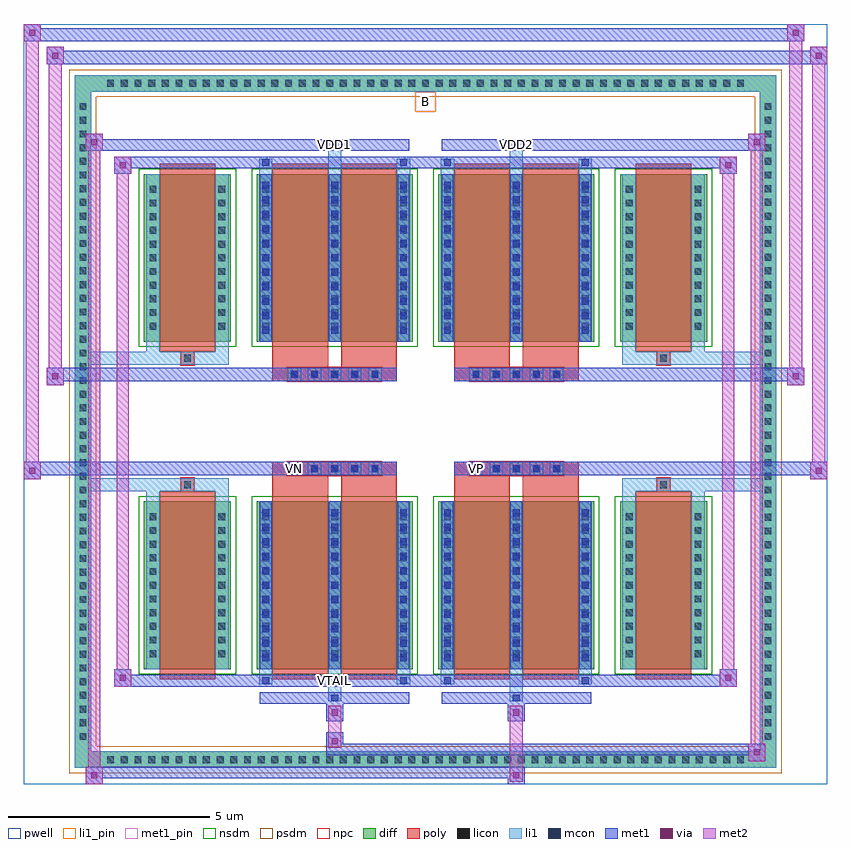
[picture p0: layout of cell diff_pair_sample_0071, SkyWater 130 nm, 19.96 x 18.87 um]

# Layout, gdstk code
import gdstk
lib = gdstk.Library(unit=1e-6, precision=5e-09)
def R(c, l, rs):  # rectangles x0, y0, x1, y1
    for r in rs: c.add(gdstk.rectangle(r[:2], r[2:], *l))
def A(c, l, x, y, w, h, nx, ny, dx, dy):  # array of equal rectangles
    R(c, l, [(x+i*dx, y+j*dy, x+i*dx+w, y+j*dy+h) for i in range(nx) for j in range(ny)])
def P(c, l, *ps):  # polygons
    for p in ps: c.add(gdstk.Polygon(p, *l))
pwell = (64, 44)
diff = (65, 20)
poly = (66, 20)
licon = (66, 44)
li1_pin = (67, 16)
li1 = (67, 20)
mcon = (67, 44)
met1_pin = (68, 16)
met1 = (68, 20)
via = (68, 44)
met2 = (69, 20)
nsdm = (93, 44)
psdm = (94, 20)
npc = (95, 20)

diff_pair_sample_0071 = lib.new_cell('diff_pair_sample_0071')
R(diff_pair_sample_0071, pwell, [(-9.98,-9,9.98,9.87), (-7.3,-7.19,-0.01,-0.805), (0.01,-7.19,7.3,-0.805), (-7.3,0.805,-0.01,7.19), (0.01,0.805,7.3,7.19)])
A(diff_pair_sample_0071, diff, -8.025, -8.6, 0.41, 0.41, 47, 2, 0.34, 16.79)
A(diff_pair_sample_0071, diff, -8.71, -8.025, 0.41, 0.41, 1, 47, 0, 0.34)
A(diff_pair_sample_0071, diff, 8.3, -8.025, 0.41, 0.41, 1, 47, 0, 0.34)
R(diff_pair_sample_0071, diff, [(-8.025,-8.6,8.025,-8.19), (-8.71,-8.025,-8.3,8.025), (8.3,-8.025,8.71,8.025), (-6.99,-6.145,-4.83,-1.985), (-4.19,-6.145,-0.32,-1.985), (0.32,-6.145,4.19,-1.985), (4.83,-6.145,6.99,-1.985), (-6.99,1.985,-4.83,6.145), (-4.19,1.985,-0.32,6.145), (0.32,1.985,4.19,6.145), (4.83,1.985,6.99,6.145), (-8.025,8.19,8.025,8.6)])
P(diff_pair_sample_0071, diff, [(8.71,8.6),(-8.71,8.6),(-8.71,-8.19),(-8.3,-8.19),(-8.3,8.19),(8.3,8.19),(8.3,-8.19),(-8.3,-8.19),(-8.71,-8.19),(-8.71,-8.6),(8.71,-8.6)])
A(diff_pair_sample_0071, poly, -3.42, -1.335, 0.33, 0.33, 5, 2, 0.5, 2.34)
A(diff_pair_sample_0071, poly, 1.09, -1.335, 0.33, 0.33, 5, 2, 0.5, 2.34)
R(diff_pair_sample_0071, poly, [(-6.6,-6.395,-5.22,-1.735), (-3.8,-6.395,-2.42,-1.735), (-2.09,-6.395,-0.71,-1.735), (0.71,-6.395,2.09,-1.735), (2.42,-6.395,3.8,-1.735), (5.22,-6.395,6.6,-1.735), (-6.075,-1.735,-5.745,-1.405), (-6.075,-1.735,-5.745,-1.405), (-3.8,-1.735,-2.42,-1.335), (-2.09,-1.735,-0.71,-1.335), (0.71,-1.735,2.09,-1.335), (2.42,-1.735,3.8,-1.335), (5.745,-1.735,6.075,-1.405), (5.745,-1.735,6.075,-1.405), (-3.8,-1.335,-0.71,-1.005), (0.71,-1.335,3.8,-1.005), (-3.8,1.005,-0.71,1.335), (0.71,1.005,3.8,1.335), (-3.8,1.335,-2.42,1.735), (-2.09,1.335,-0.71,1.735), (0.71,1.335,2.09,1.735), (2.42,1.335,3.8,1.735), (-6.075,1.405,-5.745,1.735), (-6.075,1.405,-5.745,1.735), (5.745,1.405,6.075,1.735), (5.745,1.405,6.075,1.735), (-6.6,1.735,-5.22,6.395), (-3.8,1.735,-2.42,6.395), (-2.09,1.735,-0.71,6.395), (0.71,1.735,2.09,6.395), (2.42,1.735,3.8,6.395), (5.22,1.735,6.6,6.395)])
A(diff_pair_sample_0071, licon, -7.905, -8.48, 0.17, 0.17, 47, 2, 0.34, 16.79)
A(diff_pair_sample_0071, licon, -8.59, -7.905, 0.17, 0.17, 1, 47, 0, 0.34)
A(diff_pair_sample_0071, licon, 8.42, -7.905, 0.17, 0.17, 1, 47, 0, 0.34)
A(diff_pair_sample_0071, licon, -6.85, -5.85, 0.17, 0.17, 1, 11, 0, 0.34)
A(diff_pair_sample_0071, licon, -5.14, -5.85, 0.17, 0.17, 1, 11, 0, 0.34)
A(diff_pair_sample_0071, licon, -4.05, -5.85, 0.17, 0.17, 3, 11, 1.71, 0.34)
A(diff_pair_sample_0071, licon, 0.46, -5.85, 0.17, 0.17, 3, 11, 1.71, 0.34)
A(diff_pair_sample_0071, licon, 4.97, -5.85, 0.17, 0.17, 1, 11, 0, 0.34)
A(diff_pair_sample_0071, licon, 6.68, -5.85, 0.17, 0.17, 1, 11, 0, 0.34)
A(diff_pair_sample_0071, licon, -3.34, -1.255, 0.17, 0.17, 5, 2, 0.5, 2.34)
A(diff_pair_sample_0071, licon, 1.17, -1.255, 0.17, 0.17, 5, 2, 0.5, 2.34)
A(diff_pair_sample_0071, licon, -6.85, 2.28, 0.17, 0.17, 1, 11, 0, 0.34)
A(diff_pair_sample_0071, licon, -5.14, 2.28, 0.17, 0.17, 1, 11, 0, 0.34)
A(diff_pair_sample_0071, licon, -4.05, 2.28, 0.17, 0.17, 3, 11, 1.71, 0.34)
A(diff_pair_sample_0071, licon, 0.46, 2.28, 0.17, 0.17, 3, 11, 1.71, 0.34)
A(diff_pair_sample_0071, licon, 4.97, 2.28, 0.17, 0.17, 1, 11, 0, 0.34)
A(diff_pair_sample_0071, licon, 6.68, 2.28, 0.17, 0.17, 1, 11, 0, 0.34)
R(diff_pair_sample_0071, licon, [(-5.995,-1.655,-5.825,-1.485), (5.825,-1.655,5.995,-1.485), (-5.995,1.485,-5.825,1.655), (5.825,1.485,5.995,1.655)])
R(diff_pair_sample_0071, li1_pin, [(-0.25,7.69,0.25,8.19)])
A(diff_pair_sample_0071, li1, -7.985, -8.56, 0.33, 0.33, 47, 2, 0.34, 16.79)
A(diff_pair_sample_0071, li1, -8.67, -7.985, 0.33, 0.33, 1, 47, 0, 0.34)
A(diff_pair_sample_0071, li1, 8.34, -7.985, 0.33, 0.33, 1, 47, 0, 0.34)
A(diff_pair_sample_0071, li1, -4.13, -6.145, 0.33, 4.16, 3, 2, 1.71, 8.13)
A(diff_pair_sample_0071, li1, 0.38, -6.145, 0.33, 4.16, 3, 2, 1.71, 8.13)
A(diff_pair_sample_0071, li1, -4.05, -5.95, 0.17, 0.17, 3, 11, 1.71, 0.36)
A(diff_pair_sample_0071, li1, -4.05, -5.95, 0.17, 3.77, 3, 2, 1.71, 8.13)
A(diff_pair_sample_0071, li1, 0.46, -5.95, 0.17, 0.17, 3, 11, 1.71, 0.36)
A(diff_pair_sample_0071, li1, 0.46, -5.95, 0.17, 3.77, 3, 2, 1.71, 8.13)
A(diff_pair_sample_0071, li1, -6.93, -5.93, 0.33, 0.33, 1, 11, 0, 0.34)
A(diff_pair_sample_0071, li1, -5.22, -5.93, 0.33, 0.33, 1, 11, 0, 0.34)
A(diff_pair_sample_0071, li1, -4.13, -5.93, 0.33, 0.33, 3, 11, 1.71, 0.34)
A(diff_pair_sample_0071, li1, 0.38, -5.93, 0.33, 0.33, 3, 11, 1.71, 0.34)
A(diff_pair_sample_0071, li1, 4.89, -5.93, 0.33, 0.33, 1, 11, 0, 0.34)
A(diff_pair_sample_0071, li1, 6.6, -5.93, 0.33, 0.33, 1, 11, 0, 0.34)
A(diff_pair_sample_0071, li1, -3.42, -1.335, 0.33, 0.33, 5, 2, 0.5, 2.34)
A(diff_pair_sample_0071, li1, 1.09, -1.335, 0.33, 0.33, 5, 2, 0.5, 2.34)
A(diff_pair_sample_0071, li1, -4.05, 2.18, 0.17, 0.17, 3, 11, 1.71, 0.36)
A(diff_pair_sample_0071, li1, 0.46, 2.18, 0.17, 0.17, 3, 11, 1.71, 0.36)
A(diff_pair_sample_0071, li1, -6.93, 2.2, 0.33, 0.33, 1, 11, 0, 0.34)
A(diff_pair_sample_0071, li1, -5.22, 2.2, 0.33, 0.33, 1, 11, 0, 0.34)
A(diff_pair_sample_0071, li1, -4.13, 2.2, 0.33, 0.33, 3, 11, 1.71, 0.34)
A(diff_pair_sample_0071, li1, 0.38, 2.2, 0.33, 0.33, 3, 11, 1.71, 0.34)
A(diff_pair_sample_0071, li1, 4.89, 2.2, 0.33, 0.33, 1, 11, 0, 0.34)
A(diff_pair_sample_0071, li1, 6.6, 2.2, 0.33, 0.33, 1, 11, 0, 0.34)
R(diff_pair_sample_0071, li1, [(-8.71,-8.6,-8.3,-8.19), (-8.71,-8.6,-8.3,-8.19), (-8.3,-8.6,8.3,-8.19), (8.3,-8.6,8.71,-8.19), (8.3,-8.6,8.71,-8.19), (-8.71,-8.19,-8.3,8.19), (8.3,-8.19,8.71,8.19), (-2.42,-6.95,-2.09,-6.145), (-2.34,-6.95,-2.17,-6.78), (2.09,-6.95,2.42,-6.145), (2.17,-6.95,2.34,-6.78), (-4.13,-6.52,-3.8,-6.145), (-4.05,-6.52,-3.88,-6.35), (-0.71,-6.52,-0.38,-6.145), (-0.63,-6.52,-0.46,-6.35), (0.38,-6.52,0.71,-6.145), (0.46,-6.52,0.63,-6.35), (3.8,-6.52,4.13,-6.145), (3.88,-6.52,4.05,-6.35), (-6.93,-6.145,-6.6,-1.985), (-5.22,-6.145,-4.89,-1.985), (4.89,-6.145,5.22,-1.985), (6.6,-6.145,6.93,-1.985), (-6.93,-1.985,-6.6,-1.405), (-5.22,-1.985,-4.89,-1.405), (4.89,-1.985,5.22,-1.405), (6.6,-1.985,6.93,-1.405), (-8.71,-1.735,-6.075,-1.405), (-6.93,-1.735,-6.075,-1.405), (-6.075,-1.735,-5.745,-1.405), (-5.745,-1.735,-4.89,-1.405), (4.89,-1.735,5.745,-1.405), (5.745,-1.735,6.075,-1.405), (5.745,-1.735,8.71,-1.405), (6.075,-1.735,6.93,-1.405), (-8.71,1.405,-6.075,1.735), (-6.93,1.405,-6.075,1.735), (-6.93,1.405,-6.6,1.985), (-6.075,1.405,-5.745,1.735), (-5.745,1.405,-4.89,1.735), (-5.22,1.405,-4.89,1.985), (4.89,1.405,5.745,1.735), (4.89,1.405,5.22,1.985), (5.745,1.405,6.075,1.735), (5.745,1.405,8.71,1.735), (6.075,1.405,6.93,1.735), (6.6,1.405,6.93,1.985), (-6.93,1.985,-6.6,6.145), (-5.22,1.985,-4.89,6.145), (4.89,1.985,5.22,6.145), (6.6,1.985,6.93,6.145), (-4.13,6.145,-3.8,6.52), (-2.42,6.145,-2.09,6.95), (-0.71,6.145,-0.38,6.52), (0.38,6.145,0.71,6.52), (2.09,6.145,2.42,6.95), (3.8,6.145,4.13,6.52), (-4.05,6.35,-3.88,6.52), (-0.63,6.35,-0.46,6.52), (0.46,6.35,0.63,6.52), (3.88,6.35,4.05,6.52), (-2.34,6.78,-2.17,6.95), (2.17,6.78,2.34,6.95), (-8.71,8.19,-8.3,8.6), (-8.71,8.19,-8.3,8.6), (-8.3,8.19,8.3,8.6), (8.3,8.19,8.71,8.6), (8.3,8.19,8.71,8.6)])
A(diff_pair_sample_0071, mcon, -4.05, -5.95, 0.17, 0.17, 3, 11, 1.71, 0.36)
A(diff_pair_sample_0071, mcon, 0.46, -5.95, 0.17, 0.17, 3, 11, 1.71, 0.36)
A(diff_pair_sample_0071, mcon, -3.34, -1.255, 0.17, 0.17, 5, 2, 0.5, 2.34)
A(diff_pair_sample_0071, mcon, 1.17, -1.255, 0.17, 0.17, 5, 2, 0.5, 2.34)
A(diff_pair_sample_0071, mcon, -4.05, 2.18, 0.17, 0.17, 3, 11, 1.71, 0.36)
A(diff_pair_sample_0071, mcon, 0.46, 2.18, 0.17, 0.17, 3, 11, 1.71, 0.36)
R(diff_pair_sample_0071, mcon, [(-2.34,-6.95,-2.17,-6.78), (2.17,-6.95,2.34,-6.78), (-4.05,-6.52,-3.88,-6.35), (-0.63,-6.52,-0.46,-6.35), (0.46,-6.52,0.63,-6.35), (3.88,-6.52,4.05,-6.35), (-4.05,6.35,-3.88,6.52), (-0.63,6.35,-0.46,6.52), (0.46,6.35,0.63,6.52), (3.88,6.35,4.05,6.52), (-2.34,6.78,-2.17,6.95), (2.17,6.78,2.34,6.95)])
R(diff_pair_sample_0071, met1_pin, [(-2.39,-6.56,-2.12,-6.29), (-3.39,-1.295,-3.12,-1.025), (1.12,-1.295,1.39,-1.025), (-2.39,6.74,-2.12,7.01), (2.12,6.74,2.39,7.01)])
A(diff_pair_sample_0071, met1, -4.11, -6.145, 0.29, 4.16, 3, 2, 1.71, 8.13)
A(diff_pair_sample_0071, met1, 0.4, -6.145, 0.29, 4.16, 3, 2, 1.71, 8.13)
A(diff_pair_sample_0071, met1, -4.11, -6.01, 0.29, 0.29, 3, 11, 1.71, 0.36)
A(diff_pair_sample_0071, met1, 0.4, -6.01, 0.29, 0.29, 3, 11, 1.71, 0.36)
A(diff_pair_sample_0071, met1, -3.4, -1.315, 0.29, 0.29, 5, 2, 0.5, 2.34)
A(diff_pair_sample_0071, met1, 1.11, -1.315, 0.29, 0.29, 5, 2, 0.5, 2.34)
A(diff_pair_sample_0071, met1, -4.11, 2.12, 0.29, 0.29, 3, 11, 1.71, 0.36)
A(diff_pair_sample_0071, met1, 0.4, 2.12, 0.29, 0.29, 3, 11, 1.71, 0.36)
R(diff_pair_sample_0071, met1, [(-8.44,-9,-8.01,-8.57), (2.04,-9,2.47,-8.57), (-8.44,-8.86,2.47,-8.57), (8.01,-8.43,8.44,-8), (-2.47,-8.29,8.44,-8), (-2.47,-8.15,-2.04,-7.72), (-2.47,-7.44,-2.04,-7.01), (2.04,-7.44,2.47,-7.01), (-4.11,-7.01,-0.4,-6.72), (-2.4,-7.01,-2.11,-6.72), (0.4,-7.01,4.11,-6.72), (2.11,-7.01,2.4,-6.72), (-7.73,-6.58,-7.3,-6.15), (-7.73,-6.58,-4.11,-6.29), (-4.11,-6.58,-3.82,-6.29), (-4.11,-6.58,-0.4,-6.29), (-0.69,-6.58,-0.4,-6.29), (-0.4,-6.58,0.4,-6.29), (0.4,-6.58,0.69,-6.29), (0.4,-6.58,4.11,-6.29), (3.82,-6.58,4.11,-6.29), (4.11,-6.58,7.73,-6.29), (7.3,-6.58,7.73,-6.15), (-9.98,-1.435,-9.55,-1.005), (9.55,-1.435,9.98,-1.005), (-9.98,-1.335,-0.71,-1.005), (-3.8,-1.335,-0.71,-1.005), (0.71,-1.335,3.8,-1.005), (0.71,-1.335,9.98,-1.005), (-9.41,0.905,-8.98,1.335), (8.98,0.905,9.41,1.335), (-9.41,1.005,-3.8,1.335), (-3.8,1.005,-0.71,1.335), (0.71,1.005,3.8,1.335), (3.8,1.005,9.41,1.335), (-7.73,6.15,-7.3,6.58), (7.3,6.15,7.73,6.58), (-7.73,6.29,-4.11,6.58), (-4.11,6.29,-3.82,6.58), (-4.11,6.29,-0.4,6.58), (-0.69,6.29,-0.4,6.58), (-0.4,6.29,0.4,6.58), (0.4,6.29,0.69,6.58), (0.4,6.29,4.11,6.58), (3.82,6.29,4.11,6.58), (4.11,6.29,7.73,6.58), (-8.44,6.72,-8.01,7.15), (-8.44,6.72,-4.11,7.01), (-4.11,6.72,-0.4,7.01), (-2.4,6.72,-2.11,7.01), (0.4,6.72,4.11,7.01), (2.11,6.72,2.4,7.01), (4.11,6.72,8.44,7.01), (8.01,6.72,8.44,7.15), (-9.41,8.87,-8.98,9.3), (-9.41,8.87,-7.3,9.2), (-7.3,8.87,7.3,9.2), (7.3,8.87,9.98,9.2), (9.55,8.87,9.98,9.3), (-9.98,9.44,-9.55,9.87), (-9.98,9.44,-7.3,9.77), (-7.3,9.44,7.3,9.77), (7.3,9.44,9.41,9.77), (8.98,9.44,9.41,9.87)])
R(diff_pair_sample_0071, via, [(-8.3,-8.86,-8.15,-8.71), (2.18,-8.86,2.33,-8.71), (8.15,-8.29,8.3,-8.14), (-2.33,-8.01,-2.18,-7.86), (-2.33,-7.3,-2.18,-7.15), (2.18,-7.3,2.33,-7.15), (-7.59,-6.44,-7.44,-6.29), (7.44,-6.44,7.59,-6.29), (-9.84,-1.295,-9.69,-1.145), (9.69,-1.295,9.84,-1.145), (-9.27,1.045,-9.12,1.195), (9.12,1.045,9.27,1.195), (-7.59,6.29,-7.44,6.44), (7.44,6.29,7.59,6.44), (-8.3,6.86,-8.15,7.01), (8.15,6.86,8.3,7.01), (-9.27,9.01,-9.12,9.16), (9.69,9.01,9.84,9.16), (-9.84,9.58,-9.69,9.73), (9.12,9.58,9.27,9.73)])
R(diff_pair_sample_0071, met2, [(-8.44,-9,-8.01,-8.57), (-8.37,-9,-8.08,7.15), (-8.08,-9,-8.01,-8.57), (-8.39,-8.95,-8.06,-8.62), (2.09,-8.95,2.42,-8.62), (2.09,-8.62,2.42,-7.39), (8.01,-8.43,8.44,-8), (8.08,-8.43,8.37,7.15), (8.37,-8.43,8.44,-8), (8.06,-8.38,8.39,-8.05), (-2.42,-8.1,-2.09,-7.77), (-2.42,-7.77,-2.09,-7.39), (-2.42,-7.39,-2.09,-7.06), (2.09,-7.39,2.42,-7.06), (-7.73,-6.58,-7.3,-6.15), (-7.66,-6.58,-7.37,6.58), (-7.37,-6.58,-7.3,-6.15), (7.3,-6.58,7.73,-6.15), (7.37,-6.58,7.66,6.58), (7.66,-6.58,7.73,-6.15), (-7.68,-6.53,-7.35,-6.2), (7.35,-6.53,7.68,-6.2), (-9.98,-1.435,-9.55,-1.005), (-9.93,-1.435,-9.6,9.87), (-9.6,-1.435,-9.55,-1.005), (9.55,-1.435,9.98,-1.005), (9.6,-1.435,9.93,9.3), (9.93,-1.435,9.98,-1.005), (-9.93,-1.385,-9.6,-1.055), (9.6,-1.385,9.93,-1.055), (-9.41,0.905,-8.98,1.335), (-9.36,0.905,-9.03,9.3), (-9.03,0.905,-8.98,1.335), (8.98,0.905,9.41,1.335), (9.03,0.905,9.36,9.87), (9.36,0.905,9.41,1.335), (-9.36,0.955,-9.03,1.285), (9.03,0.955,9.36,1.285), (-7.73,6.15,-7.3,6.58), (-7.37,6.15,-7.3,6.58), (7.3,6.15,7.73,6.58), (7.66,6.15,7.73,6.58), (-7.68,6.2,-7.35,6.53), (7.35,6.2,7.68,6.53), (-8.44,6.72,-8.01,7.15), (-8.08,6.72,-8.01,7.15), (8.01,6.72,8.44,7.15), (8.37,6.72,8.44,7.15), (-8.39,6.77,-8.06,7.1), (8.06,6.77,8.39,7.1), (-9.41,8.87,-8.98,9.3), (-9.03,8.87,-8.98,9.3), (9.55,8.87,9.98,9.3), (9.93,8.87,9.98,9.3), (-9.36,8.92,-9.03,9.25), (9.6,8.92,9.93,9.25), (-9.98,9.44,-9.55,9.87), (-9.6,9.44,-9.55,9.87), (8.98,9.44,9.41,9.87), (9.36,9.44,9.41,9.87), (-9.93,9.49,-9.6,9.82), (9.03,9.49,9.36,9.82)])
R(diff_pair_sample_0071, nsdm, [(-7.12,-6.275,-4.7,-1.855), (-4.32,-6.275,-0.19,-1.855), (0.19,-6.275,4.32,-1.855), (4.7,-6.275,7.12,-1.855), (-7.12,1.855,-4.7,6.275), (-4.32,1.855,-0.19,6.275), (0.19,1.855,4.32,6.275), (4.7,1.855,7.12,6.275)])
P(diff_pair_sample_0071, psdm, [(8.84,8.73),(-8.84,8.73),(-8.84,-8.06),(-8.17,-8.06),(-8.17,8.06),(8.17,8.06),(8.17,-8.06),(-8.17,-8.06),(-8.84,-8.06),(-8.84,-8.73),(8.84,-8.73)])
A(diff_pair_sample_0071, npc, -3.44, -1.355, 0.37, 0.37, 5, 2, 0.5, 2.34)
A(diff_pair_sample_0071, npc, 1.07, -1.355, 0.37, 0.37, 5, 2, 0.5, 2.34)
R(diff_pair_sample_0071, npc, [(-6.095,-1.755,-5.725,-1.385), (5.725,-1.755,6.095,-1.385), (-3.44,-1.355,-2.57,-0.985), (-3.44,-1.355,-2.57,-0.985), (-2.94,-1.355,-2.07,-0.985), (-2.94,-1.355,-2.07,-0.985), (-2.44,-1.355,-1.57,-0.985), (-2.44,-1.355,-1.57,-0.985), (-1.94,-1.355,-1.07,-0.985), (-1.94,-1.355,-1.07,-0.985), (1.07,-1.355,1.94,-0.985), (1.07,-1.355,1.94,-0.985), (1.57,-1.355,2.44,-0.985), (1.57,-1.355,2.44,-0.985), (2.07,-1.355,2.94,-0.985), (2.07,-1.355,2.94,-0.985), (2.57,-1.355,3.44,-0.985), (2.57,-1.355,3.44,-0.985), (-3.44,0.985,-2.57,1.355), (-3.44,0.985,-2.57,1.355), (-2.94,0.985,-2.07,1.355), (-2.94,0.985,-2.07,1.355), (-2.44,0.985,-1.57,1.355), (-2.44,0.985,-1.57,1.355), (-1.94,0.985,-1.07,1.355), (-1.94,0.985,-1.07,1.355), (1.07,0.985,1.94,1.355), (1.07,0.985,1.94,1.355), (1.57,0.985,2.44,1.355), (1.57,0.985,2.44,1.355), (2.07,0.985,2.94,1.355), (2.07,0.985,2.94,1.355), (2.57,0.985,3.44,1.355), (2.57,0.985,3.44,1.355), (-6.095,1.385,-5.725,1.755), (5.725,1.385,6.095,1.755)])
diff_pair_sample_0071.add(gdstk.Label('VTAIL', (-2.255,-6.425), layer=68, texttype=5))
diff_pair_sample_0071.add(gdstk.Label('VN', (-3.255,-1.16), layer=68, texttype=5))
diff_pair_sample_0071.add(gdstk.Label('VP', (1.255,-1.16), layer=68, texttype=5))
diff_pair_sample_0071.add(gdstk.Label('B', (0,7.94), layer=67, texttype=5))
diff_pair_sample_0071.add(gdstk.Label('VDD2', (2.255,6.875), layer=68, texttype=5))
diff_pair_sample_0071.add(gdstk.Label('VDD1', (-2.255,6.875), layer=68, texttype=5))

lib.write_gds('diff_pair_sample_0071.gds')
